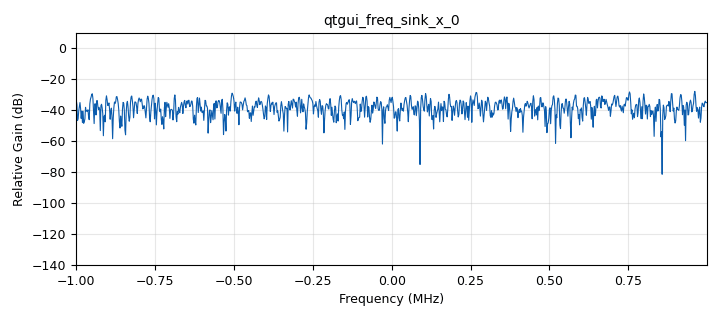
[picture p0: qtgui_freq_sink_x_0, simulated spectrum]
options:
  parameters:
    generate_options: qt_gui
    id: replay_lesson
    output_language: python
    title: Not titled yet
  states: {}

blocks:
- name: samp_rate
  id: variable
  parameters:
    value: 2e6
  states: {}
- name: analog_noise_source_x_0
  id: analog_noise_source_x
  parameters:
    amp: '1'
    noise_type: analog.GR_GAUSSIAN
    seed: '0'
    type: complex
  states: {}
- name: blocks_file_sink_0
  id: blocks_file_sink
  parameters:
    file: C:\Users\127CPB\Documents\HackRF_SDR_Dev_Files\test_file_sink
    type: complex
  states: {}
- name: blocks_file_source_0
  id: blocks_file_source
  parameters:
    file: C:\Users\127CPB\Documents\HackRF_SDR_Dev_Files\test_file_sink
    repeat: 'True'
    type: complex
  states: {}
- name: blocks_throttle2_0
  id: blocks_throttle2
  parameters:
    samples_per_second: samp_rate
    type: complex
  states: {}
- name: osmosdr_source_0
  id: osmosdr_source
  parameters:
    bb_gain0: '16'
    freq0: 27e6
    gain0: '0'
    gain_mode0: 'False'
    if_gain0: '16'
    sample_rate: samp_rate
    sync: sync
    type: fc32
  states: {state: disabled}
- name: qtgui_freq_sink_x_0
  id: qtgui_freq_sink_x
  parameters:
    bw: samp_rate
    fc: '0'
    fftsize: '1024'
    type: complex
  states: {}
- name: qtgui_freq_sink_x_0_0
  id: qtgui_freq_sink_x
  parameters:
    bw: samp_rate
    fc: '0'
    fftsize: '1024'
    type: complex
  states: {}

connections:
- [analog_noise_source_x_0, '0', blocks_file_sink_0, '0']
- [analog_noise_source_x_0, '0', qtgui_freq_sink_x_0, '0']
- [blocks_file_source_0, '0', blocks_throttle2_0, '0']
- [blocks_throttle2_0, '0', qtgui_freq_sink_x_0_0, '0']

metadata:
  file_format: 1
  grc_version: 3.10.12.0
